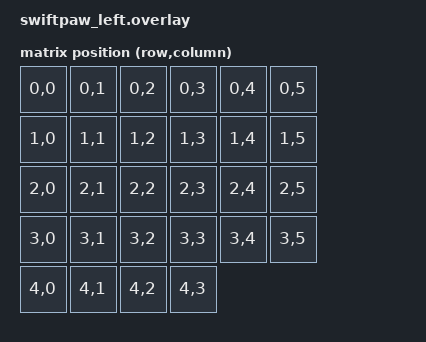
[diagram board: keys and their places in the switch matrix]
#include <dt-bindings/gpio/gpio.h>
#include <dt-bindings/zmk/matrix_transform.h>
#include <zephyr/dt-bindings/adc/adc.h>
#include <zephyr/dt-bindings/adc/nrf-saadc.h>
#include "swiftpaw.dtsi"

/*
 * TMR joystick, wired to free ADC-capable pins (the matrix already uses
 * P0.31/P0.29/P0.02 as columns, so those are off-limits):
 *   X  P0.03  (AIN1)
 *   Y  P0.04  (AIN2)
 *
 * Using the REAL zmk,kscan-joystick driver from
 * letmegobacktosleep/zmk-keyboard-joystick-wasd (verified source, not a
 * guess this time). It outputs kscan row=threshold-tier, col=direction.
 * We're only using 1 threshold tier -> a single row of 4 directions
 * (up/down/left/right), kept simple rather than adding a second "sprint"
 * tier.
 *
 * NOTE: which physical direction maps to which column depends on how the
 * stick is physically oriented - that's exactly what angle-offset is for.
 * Default is 0 below; if W/A/S/D come out rotated once you test it, tell
 * me what you're seeing (e.g. "up triggers D") and I'll adjust angle-offset
 * (in 90-degree steps for a start) rather than guess blind.
 */
&adc {
    #io-channel-cells = <1>;
    #address-cells = <1>;
    #size-cells = <0>;
    status = "okay";

    channel@1 {
        reg = <1>;
        zephyr,input-positive = <NRF_SAADC_AIN1>;
        zephyr,gain = "ADC_GAIN_1_6";
        zephyr,reference = "ADC_REF_INTERNAL";
        zephyr,acquisition-time = <ADC_ACQ_TIME_DEFAULT>;
        zephyr,resolution = <12>;
        zephyr,oversampling = <0>;
    };
    channel@2 {
        reg = <2>;
        zephyr,input-positive = <NRF_SAADC_AIN2>;
        zephyr,gain = "ADC_GAIN_1_6";
        zephyr,reference = "ADC_REF_INTERNAL";
        zephyr,acquisition-time = <ADC_ACQ_TIME_DEFAULT>;
        zephyr,resolution = <12>;
        zephyr,oversampling = <0>;
    };
};

/ {
    kscan3: kscan_joystick {
        compatible = "zmk,kscan-joystick";
        status = "okay";
        io-channels = <&adc 1>, <&adc 2>;   // X (P0.03) then Y (P0.04)
        poll-period-ms = <10>;
        idle-period-ms = <100>;
        angle-offset = <0>;                  // tune this once tested
        n-directions = <4>;                  // up/down/left/right
        thresholds = [0A];                   // single tier, default sensitivity
    };

    /*
     * Combine the existing 4x6 matrix with the joystick's 4 directions
     * into one logical kscan device, placed at row 4 (unused by the
     * physical matrix), columns 0-3.
     */
    kscan_composite0: kscan_composite {
        compatible = "zmk,kscan-composite";
        rows = <5>;
        columns = <6>;

        matrix {
            kscan = <&kscan0>;
        };

        joystick {
            kscan = <&kscan3>;
            row-offset = <4>;
        };
    };

    /* 24 original matrix keys + 4 new joystick positions (up/down/left/right) */
    left_transform: left_transform {
        compatible = "zmk,matrix-transform";
        columns = <6>;
        rows = <5>;

        map = <
RC(0,0) RC(0,1) RC(0,2) RC(0,3) RC(0,4) RC(0,5)
RC(1,0) RC(1,1) RC(1,2) RC(1,3) RC(1,4) RC(1,5)
RC(2,0) RC(2,1) RC(2,2) RC(2,3) RC(2,4) RC(2,5)
RC(3,0) RC(3,1) RC(3,2) RC(3,3) RC(3,4) RC(3,5)
RC(4,0) RC(4,1) RC(4,2) RC(4,3)
        >;
    };

    chosen {
        zmk,kscan = &kscan_composite0;
        zmk,matrix-transform = &left_transform;
    };
};
